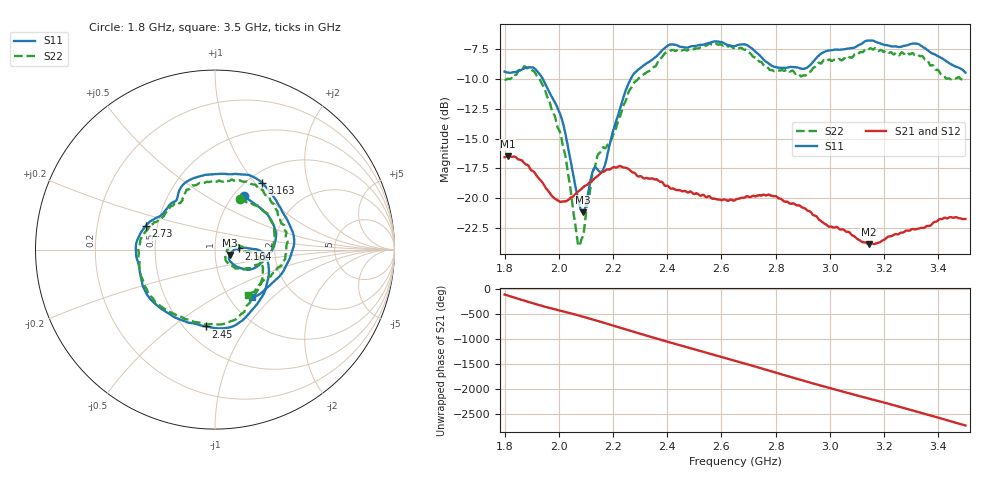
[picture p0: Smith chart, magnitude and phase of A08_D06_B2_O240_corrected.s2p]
! Created with skrf 1.9.0 (http://scikit-rf.org).
# Hz S RI R 50.0
!freq ReS11 ImS11 ReS21 ImS21 ReS12 ImS12 ReS22 ImS22
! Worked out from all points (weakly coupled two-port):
!   1601 points, 1.8 GHz to 3.5 GHz, reference 50 ohm
!   highest |S21| = -16.49 dB at 1.812 GHz (marker M1); lowest = -23.9 dB at 3.144 GHz (marker M2)
!   lowest |S11| = -21.2 dB at 2.09 GHz (marker M3), VSWR 1.19, Z = 58.8 - j3.58 ohm
!   |S11| at or under -10 dB: 1.941 GHz to 2.265 GHz (324.5 MHz wide, 15.4 % of centre)
!   |S22| runs from -24.0 to -7.0 dB; largest |S21 - S12| = 0.0025
!   S11 on the Smith chart (normalised r, x): 1.8 GHz: 1.12, +0.75; 2.164 GHz: 1.30, +0.02; 2.45 GHz: 0.63, -0.66; 2.73 GHz: 0.43, +0.14; 3.163 GHz: 1.16, +1.09; 3.5 GHz: 1.27, -0.76
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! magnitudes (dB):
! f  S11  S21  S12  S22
! 1.8 GHz  -9.4  -16.6  -16.6  -10.0
! 1.812 GHz  -9.5  -16.5  -16.5  -10.0
! 1.881 GHz  -9.0  -17.2  -17.2  -9.1
! 1.942 GHz  -10.1  -18.8  -18.8  -10.6
! 2.011 GHz  -13.4  -20.3  -20.3  -15.2
! 2.068 GHz  -19.7  -19.5  -19.5  -23.5
! 2.084 GHz  -21.1  -19.2  -19.2  -23.4
! 2.09 GHz  -21.2  -19.1  -19.1  -23.1
! 2.128 GHz  -17.6  -18.4  -18.4  -17.6
! 2.164 GHz  -17.6  -17.8  -17.7  -15.7
! 2.261 GHz  -10.2  -17.6  -17.6  -10.9
! 2.367 GHz  -8.0  -18.5  -18.5  -8.5
! 2.45 GHz  -7.3  -19.4  -19.4  -7.6
! 2.65 GHz  -7.2  -20.2  -20.1  -7.4
! 2.73 GHz  -7.8  -19.8  -19.9  -8.3
! 2.807 GHz  -9.1  -19.9  -19.9  -9.3
! 2.934 GHz  -8.7  -21.3  -21.3  -9.2
! 3.144 GHz  -6.8  -23.9  -23.8  -7.5
! 3.163 GHz  -6.8  -23.8  -23.8  -7.5
! 3.217 GHz  -7.2  -23.2  -23.2  -7.8
! 3.325 GHz  -7.1  -22.6  -22.5  -8.0
! 3.5 GHz  -9.5  -21.7  -21.7  -10.1
